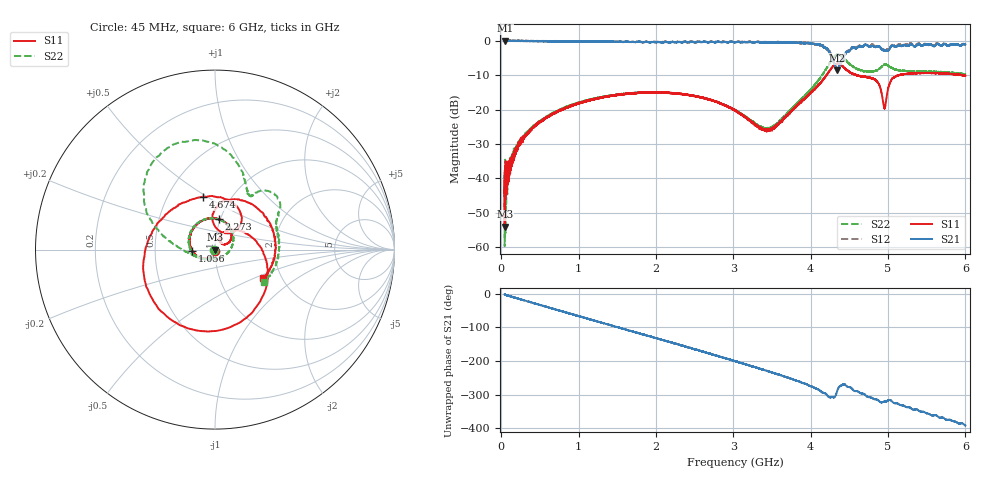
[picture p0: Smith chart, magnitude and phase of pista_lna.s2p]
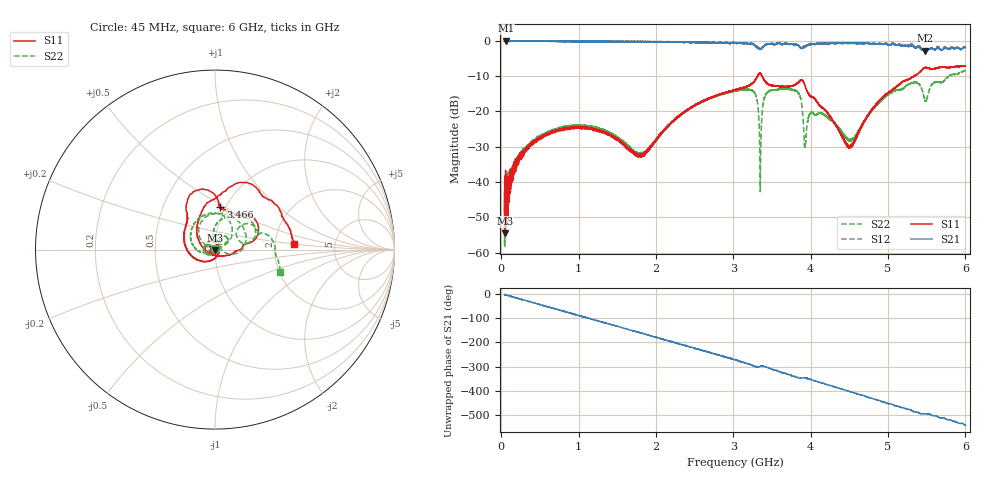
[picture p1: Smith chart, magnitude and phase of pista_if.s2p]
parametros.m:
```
close all; clear all;

%%
pista_lna = sparameters('pista_lna.s2p');
figure;
rfplot(pista_lna,1,1)
hold on;
rfplot(pista_lna,2,1)
title('Parametros S de pista corta')
saveas(gcf,'parametros_pista_corta','fig');
saveas(gcf,'parametros_pista_corta','png');
figure;
smithplot(pista_lna,1,1)
hold on;
smithplot(pista_lna,2,2)
title('Parametros S de pista corta')
saveas(gcf,'smith_pista_corta','fig');
saveas(gcf,'smith_pista_corta','png');

%%
pista_if = sparameters('pista_if.s2p');
figure;
rfplot(pista_if,1,1)
hold on;
rfplot(pista_if,2,1)
title('Parametros S de pista larga')
saveas(gcf,'parametros_pista_larga','fig');
saveas(gcf,'parametros_pista_larga','png');
figure;
hold on;
smithplot(pista_if,1,1)
hold on;
smithplot(pista_if,2,2)
title('Parametros S de pista larga')
saveas(gcf,'smith_pista_larga','fig');
saveas(gcf,'smith_pista_larga','png');

%%
pa_solo = sparameters('pa_directa.s2p');
figure;
rfplot(pa_solo)
title('Parametros S de PA')
saveas(gcf,'parametros_pa_directa','fig');
saveas(gcf,'parametros_pa_directa','png');
figure;
hold on;
smithplot(pa_solo,1,1)
hold on;
smithplot(pa_solo,2,2)
title('Parametros S de PA')
saveas(gcf,'smith_pa_directa','fig');
saveas(gcf,'smith_pa_directa','png');

%%
cp_thru = sparameters('pa_directa.s2p');
figure;
rfplot(cp_thru)
title('Parametros S de salida acoplada')
saveas(gcf,'parametros_pa_directa','fig');
saveas(gcf,'parametros_pa_directa','png');
figure;
smithplot(cp_thru,1,1)
hold on;
smithplot(cp_thru,2,2)
title('Parametros S de salida acoplada')
saveas(gcf,'smith_pa_directa','fig');
saveas(gcf,'smith_pa_directa','png');

%%
cp_cp = sparameters('pa_modificado.s2p');
figure;
rfplot(cp_cp)
title('Parametros S pa modificado')
saveas(gcf,'parametros_pa_modificado','fig');
saveas(gcf,'parametros_pa_modificado','png');
figure;
hold on;
smithplot(cp_cp,1,1)
hold on;
smithplot(cp_cp,2,2)
title('Parametros S pa modificado')
saveas(gcf,'smith_pa_modificado','fig');
saveas(gcf,'smith_pa_modificado','png');
```
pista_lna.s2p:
!Agilent Technologies,E8364A,US41440144,A.06.04.32
!Agilent E8364A: A.06.04.32
!Date: Monday, February 26, 2018 15:02:44
!Correction: S11(Full 2 Port(1,2)) S21(Full 2 Port(1,2)) S12(Full 2 Port(1,2)) S22(Full 2 Port(1,2))
!S2P File: Measurements: S11, S21, S12, S22:
# Hz S  dB  R 50
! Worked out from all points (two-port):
!   16001 points, 45 MHz to 6 GHz, reference 50 ohm
!   highest |S21| = 0.03 dB at 47.23 MHz (marker M1); lowest = -8.6 dB at 4.341 GHz (marker M2)
!   |S21| within 3 dB of the highest: start of sweep to 4.232 GHz; 4.998 GHz to end of sweep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
!   lowest |S11| = -54.1 dB at 45.74 MHz (marker M3), VSWR 1.00, Z = 49.8 - j0.0485 ohm
!   |S11| at or under -10 dB: start of sweep to 4.206 GHz; 4.595 GHz to 5.138 GHz (542.8 MHz wide, 11.2 % of centre); 5.973365 GHz to end of sweep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
!   |S22| runs from -59.7 to -4.0 dB; largest |S21 - S12| = 0.067
!   S11 on the Smith chart (normalised r, x): 45 MHz: 1.01, -0.01; 1.056 GHz: 0.77, -0.01; 2.273 GHz: 0.99, +0.35; 4.674 GHz: 0.74, +0.48; 6 GHz: 1.60, -0.57
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4.5e7  -44.39 -65.1  -0.03 -2.9  0.07 -3.3  -44.32 -163.0
4.574438e7  -54.06 -165.8  -0.09 -3.3  0.07 -3.5  -44.35 -113.4
4.723312e7  -44.01 -105.5  0.03 -3.7  -0.01 -3.4  -39.48 -83.5
3.375394e8  -27.01 -118.6  -0.09 -22.8  -0.04 -22.8  -26.75 -116.1
1.056233e9  -17.84 -177.2  -0.23 -70.5  -0.20 -70.4  -17.70 -175.3
2.272542e9  -15.32 82.3  -0.40 -149.8  -0.33 -149.5  -15.36 86.0
3.0225e9  -20.32 29.3  -0.42 159.4  -0.40 160.0  -20.19 12.3
3.872576e9  -17.93 56.6  -0.54 96.9  -0.81 97.2  -17.24 -169.4
4.340788e9  -6.68 -107.0  -8.57 69.1  -8.12 67.8  -4.08 112.9
4.673524e9  -10.45 102.8  -1.66 63.4  -1.75 63.5  -8.75 59.8
6e9  -10.17 -31.0  -1.10 -31.4  -1.21 -32.0  -9.75 -33.7
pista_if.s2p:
!Agilent Technologies,E8364A,US41440144,A.06.04.32
!Agilent E8364A: A.06.04.32
!Date: Monday, February 26, 2018 15:04:02
!Correction: S11(Full 2 Port(1,2)) S21(Full 2 Port(1,2)) S12(Full 2 Port(1,2)) S22(Full 2 Port(1,2))
!S2P File: Measurements: S11, S21, S12, S22:
# Hz S  dB  R 50
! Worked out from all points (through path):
!   16001 points, 45 MHz to 6 GHz, reference 50 ohm
!   highest |S21| = 0.01 dB at 63.24 MHz (marker M1); lowest = -2.8 dB at 5.479 GHz (marker M2)
!   group delay of S21, straight-line fit = 249 ps
!   lowest |S11| = -54.5 dB at 46.12 MHz (marker M3), VSWR 1.00, Z = 49.9 - j0.135 ohm
!   |S11| at or under -10 dB: start of sweep to 3.314 GHz; 3.314631 GHz to 3.315064 GHz (432.5 kHz wide, 0.013 % of centre); 3.374 GHz to 5.34 GHz (1.966 GHz wide, 45.1 % of centre)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
!   |S22| runs from -58.2 to -8.3 dB; largest |S21 - S12| = 0.057
!   S11 on the Smith chart (normalised r, x): 45 MHz: 0.99, -0.00; 3.466 GHz: 0.94, +0.48; 6 GHz: 2.56, +0.21
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4.5e7  -48.46 -144.1  -0.06 -4.1  -0.01 -4.3  -57.98 125.5
4.611656e7  -54.54 -133.8  -0.02 -4.7  0.08 -4.2  -48.85 -23.3
6.323719e7  -41.09 -84.1  0.01 -6.0  -0.01 -6.2  -43.64 -50.7
9.717469e8  -24.77 160.0  -0.22 -87.2  -0.18 -87.2  -24.14 178.7
1.861275e9  -31.65 -30.9  -0.31 -166.8  -0.23 -167.0  -31.77 179.7
3.0225e9  -13.91 147.0  -0.63 88.0  -0.65 87.5  -14.21 117.5
3.350025e9  -9.22 102.3  -2.42 61.7  -2.24 61.1  -40.92 111.4
3.465775e9  -12.40 82.8  -0.91 53.2  -0.89 54.3  -14.21 100.2
4.507528e9  -29.76 -108.0  -0.71 -41.9  -0.67 -42.1  -28.16 61.3
5.478565e9  -7.63 63.2  -2.83 -133.2  -2.49 -132.2  -16.93 20.4
6e9  -7.11 4.4  -2.01 179.1  -1.94 177.6  -8.39 -19.3
